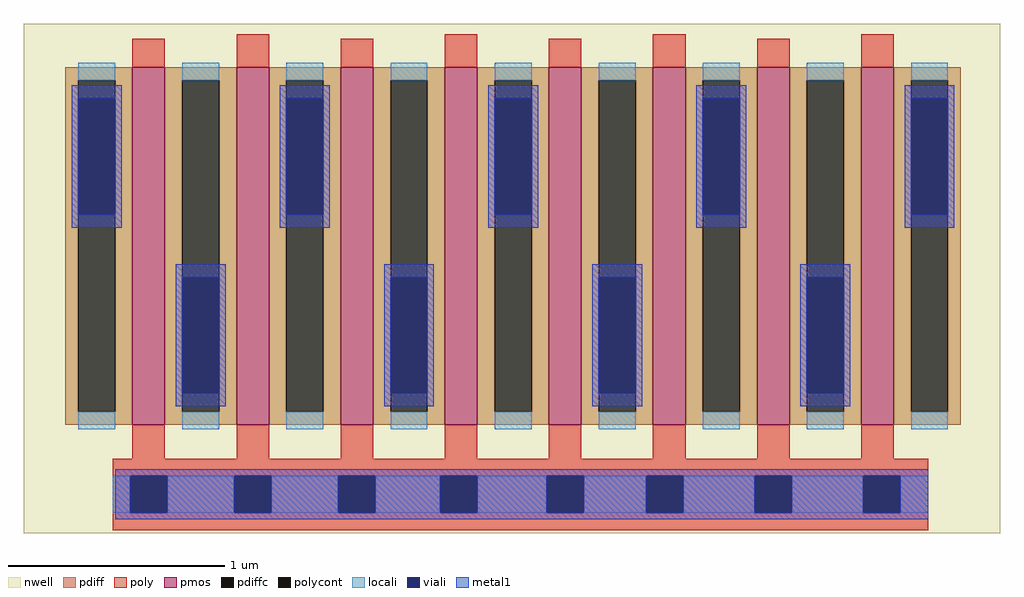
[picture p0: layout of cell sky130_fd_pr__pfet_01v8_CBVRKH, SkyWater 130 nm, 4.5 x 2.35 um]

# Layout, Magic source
magic
tech sky130A
magscale 1 2
<< nwell >>
rect -451 -265 449 205
<< pmos >>
rect -351 -165 -321 165
rect -255 -165 -225 165
rect -159 -165 -129 165
rect -63 -165 -33 165
rect 33 -165 63 165
rect 129 -165 159 165
rect 225 -165 255 165
rect 321 -165 351 165
<< pdiff >>
rect -413 153 -351 165
rect -413 -153 -401 153
rect -367 -153 -351 153
rect -413 -165 -351 -153
rect -321 153 -255 165
rect -321 -153 -305 153
rect -271 -153 -255 153
rect -321 -165 -255 -153
rect -225 153 -159 165
rect -225 -153 -209 153
rect -175 -153 -159 153
rect -225 -165 -159 -153
rect -129 153 -63 165
rect -129 -153 -113 153
rect -79 -153 -63 153
rect -129 -165 -63 -153
rect -33 153 33 165
rect -33 -153 -17 153
rect 17 -153 33 153
rect -33 -165 33 -153
rect 63 153 129 165
rect 63 -153 79 153
rect 113 -153 129 153
rect 63 -165 129 -153
rect 159 153 225 165
rect 159 -153 175 153
rect 209 -153 225 153
rect 159 -165 225 -153
rect 255 153 321 165
rect 255 -153 271 153
rect 305 -153 321 153
rect 255 -165 321 -153
rect 351 153 413 165
rect 351 -153 367 153
rect 401 -153 413 153
rect 351 -165 413 -153
<< pdiffc >>
rect -401 -153 -367 153
rect -305 -153 -271 153
rect -209 -153 -175 153
rect -113 -153 -79 153
rect -17 -153 17 153
rect 79 -153 113 153
rect 175 -153 209 153
rect 271 -153 305 153
rect 367 -153 401 153
<< poly >>
rect -351 165 -321 191
rect -255 165 -225 195
rect -159 165 -129 191
rect -63 165 -33 195
rect 33 165 63 191
rect 129 165 159 195
rect 225 165 255 191
rect 321 165 351 195
rect -351 -196 -321 -165
rect -255 -196 -225 -165
rect -159 -196 -129 -165
rect -63 -196 -33 -165
rect 33 -196 63 -165
rect 129 -196 159 -165
rect 225 -196 255 -165
rect 321 -196 351 -165
rect -369 -212 383 -196
rect -369 -246 -353 -212
rect -319 -246 -257 -212
rect -223 -246 -161 -212
rect -127 -246 -67 -212
rect -33 -246 31 -212
rect 65 -246 123 -212
rect 157 -246 223 -212
rect 257 -246 323 -212
rect 357 -246 383 -212
rect -369 -262 383 -246
<< polycont >>
rect -353 -246 -319 -212
rect -257 -246 -223 -212
rect -161 -246 -127 -212
rect -67 -246 -33 -212
rect 31 -246 65 -212
rect 123 -246 157 -212
rect 223 -246 257 -212
rect 323 -246 357 -212
<< locali >>
rect -401 153 -367 169
rect -401 -169 -367 -153
rect -305 153 -271 169
rect -305 -169 -271 -153
rect -209 153 -175 169
rect -209 -169 -175 -153
rect -113 153 -79 169
rect -113 -169 -79 -153
rect -17 153 17 169
rect -17 -169 17 -153
rect 79 153 113 169
rect 79 -169 113 -153
rect 175 153 209 169
rect 175 -169 209 -153
rect 271 153 305 169
rect 271 -169 305 -153
rect 367 153 401 169
rect 367 -169 401 -153
rect -369 -246 -353 -212
rect -319 -246 -257 -212
rect -223 -246 -161 -212
rect -127 -246 -67 -212
rect -33 -246 31 -212
rect 65 -246 123 -212
rect 157 -246 223 -212
rect 257 -246 323 -212
rect 357 -246 383 -212
<< viali >>
rect -401 29 -367 136
rect -305 -136 -271 -29
rect -209 29 -175 136
rect -113 -136 -79 -29
rect -17 29 17 136
rect 79 -136 113 -29
rect 175 29 209 136
rect 271 -136 305 -29
rect 367 29 401 136
rect -353 -246 -319 -212
rect -257 -246 -223 -212
rect -161 -246 -127 -212
rect -67 -246 -33 -212
rect 31 -246 65 -212
rect 123 -246 157 -212
rect 223 -246 257 -212
rect 323 -246 357 -212
<< metal1 >>
rect -407 136 -361 148
rect -407 29 -401 136
rect -367 29 -361 136
rect -407 17 -361 29
rect -215 136 -169 148
rect -215 29 -209 136
rect -175 29 -169 136
rect -215 17 -169 29
rect -23 136 23 148
rect -23 29 -17 136
rect 17 29 23 136
rect -23 17 23 29
rect 169 136 215 148
rect 169 29 175 136
rect 209 29 215 136
rect 169 17 215 29
rect 361 136 407 148
rect 361 29 367 136
rect 401 29 407 136
rect 361 17 407 29
rect -311 -29 -265 -17
rect -311 -136 -305 -29
rect -271 -136 -265 -29
rect -311 -148 -265 -136
rect -119 -29 -73 -17
rect -119 -136 -113 -29
rect -79 -136 -73 -29
rect -119 -148 -73 -136
rect 73 -29 119 -17
rect 73 -136 79 -29
rect 113 -136 119 -29
rect 73 -148 119 -136
rect 265 -29 311 -17
rect 265 -136 271 -29
rect 305 -136 311 -29
rect 265 -148 311 -136
rect -367 -212 383 -206
rect -367 -246 -353 -212
rect -319 -246 -257 -212
rect -223 -246 -161 -212
rect -127 -246 -67 -212
rect -33 -246 31 -212
rect 65 -246 123 -212
rect 157 -246 223 -212
rect 257 -246 323 -212
rect 357 -246 383 -212
rect -367 -252 383 -246
<< properties >>
string gencell sky130_fd_pr__pfet_01v8
string library sky130
string parameters w 1.65 l 0.15 m 1 nf 8 diffcov 100 polycov 100 guard 0 glc 1 grc 1 gtc 1 gbc 1 tbcov 100 rlcov 100 topc 1 botc 1 poverlap 0 doverlap 1 lmin 0.15 wmin 0.42 compatible {sky130_fd_pr__pfet_01v8  sky130_fd_pr__pfet_01v8_lvt sky130_fd_pr__pfet_01v8_hvt  sky130_fd_pr__pfet_g5v0d10v5} full_metal 0 viasrc +35 viadrn -35 viagate 100 viagb 0 viagr 0 viagl 0 viagt 0
<< end >>
